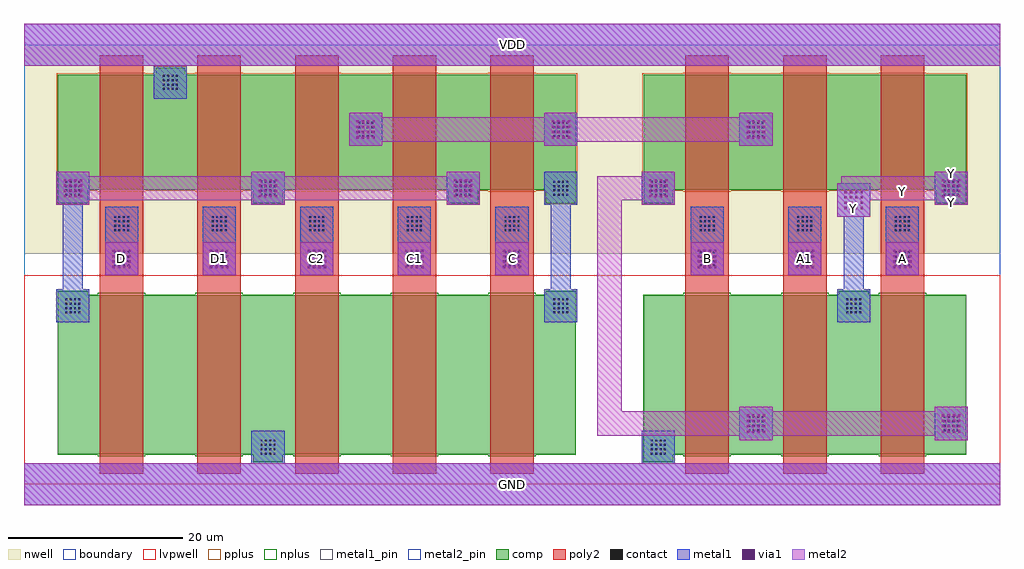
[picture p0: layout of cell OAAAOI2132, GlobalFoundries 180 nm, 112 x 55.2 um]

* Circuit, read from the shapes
.subckt OAAAOI2132 A A1 B C C1 C2 D D1 GND VDD Y
XM1 n1 D n2 VSUBS nfet_03v3 w=18.3u l=5u
XM2 GND D1 n1 VSUBS nfet_03v3 w=18.3u l=5u
XM3 n3 C2 GND VSUBS nfet_03v3 w=18.3u l=5u
XM4 n4 C1 n3 VSUBS nfet_03v3 w=18.3u l=5u
XM5 n5 C n4 VSUBS nfet_03v3 w=18.3u l=5u
XM6 n6 B GND VSUBS nfet_03v3 w=18.3u l=5u
XM7 Y A1 n6 VSUBS nfet_03v3 w=18.3u l=5u
XM8 n6 A Y VSUBS nfet_03v3 w=18.3u l=5u
XM9 VDD D n2 n7 pfet_03v3 w=13.2u l=5u
XM10 n2 D1 VDD n7 pfet_03v3 w=13.2u l=5u
XM11 n5 C2 n2 n7 pfet_03v3 w=13.2u l=5u
XM12 n2 C1 n5 n7 pfet_03v3 w=13.2u l=5u
XM13 n5 C n2 n7 pfet_03v3 w=13.2u l=5u
XM14 n5 B n6 n7 pfet_03v3 w=13.2u l=5u
XM15 n8 A1 n5 n7 pfet_03v3 w=13.2u l=5u
XM16 Y A n8 n7 pfet_03v3 w=13.2u l=5u
.ends

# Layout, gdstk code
import gdstk
lib = gdstk.Library(unit=1e-6, precision=1e-09)
def R(c, l, rs):  # rectangles x0, y0, x1, y1
    for r in rs: c.add(gdstk.rectangle(r[:2], r[2:], *l))
def A(c, l, x, y, w, h, nx, ny, dx, dy):  # array of equal rectangles
    R(c, l, [(x+i*dx, y+j*dy, x+i*dx+w, y+j*dy+h) for i in range(nx) for j in range(ny)])
boundary = (0, 0)
nwell = (21, 0)
comp = (22, 0)
poly2 = (30, 0)
pplus = (31, 0)
nplus = (32, 0)
contact = (33, 0)
metal1 = (34, 0)
metal1_pin = (34, 10)
via1 = (35, 0)
metal2 = (36, 0)
metal2_pin = (36, 10)
lvpwell = (204, 0)

oaaaoi2132 = lib.new_cell('OAAAOI2132')
R(oaaaoi2132, boundary, [(0,0,112,50.4)])
R(oaaaoi2132, nwell, [(0,26.45,112,50.4)])
A(oaaaoi2132, comp, 3.9, 32.25, 3.4, 1.55, 3, 1, 22.4, 0)
R(oaaaoi2132, comp, [(26.3,2.55,29.7,3.4), (71.1,2.55,74.5,3.4), (3.9,3.4,63.3,21.7), (71.1,3.4,108.1,21.7), (3.9,21.7,7.3,22.15), (59.9,21.7,63.3,22.15), (93.5,21.7,96.9,22.15), (59.9,32.25,63.3,33.8), (71.1,32.25,74.5,33.8), (104.7,32.25,108.1,33.8), (3.9,33.8,63.3,47), (71.1,33.8,108.1,47), (15.1,47,18.5,47.8)])
A(oaaaoi2132, poly2, 8.7, 1.2, 5, 48, 5, 1, 11.2, 0)
A(oaaaoi2132, poly2, 75.9, 1.2, 5, 48, 3, 1, 11.2, 0)
A(oaaaoi2132, pplus, 3.74, 32.09, 3.72, 1.55, 3, 1, 22.4, 0)
A(oaaaoi2132, pplus, 8.47, 33.57, 5.46, 0.07, 5, 2, 11.2, 13.59)
A(oaaaoi2132, pplus, 75.67, 33.57, 5.46, 0.07, 3, 2, 11.2, 13.59)
R(oaaaoi2132, pplus, [(59.74,32.09,63.46,33.64), (70.94,32.09,74.66,33.64), (104.54,32.09,108.26,33.64), (3.74,33.64,63.46,47.16), (70.94,33.64,108.26,47.16), (14.94,47.16,18.66,47.96)])
A(oaaaoi2132, nplus, 8.47, 3.17, 5.46, 0.21, 5, 2, 11.2, 18.55)
A(oaaaoi2132, nplus, 75.67, 3.17, 5.46, 0.21, 3, 2, 11.2, 18.55)
R(oaaaoi2132, nplus, [(26.28,2.53,29.72,3.38), (71.08,2.53,74.52,3.38), (3.88,3.38,63.32,21.72), (71.08,3.38,108.12,21.72), (3.88,21.72,7.32,22.17), (59.88,21.72,63.32,22.17), (93.48,21.72,96.92,22.17)])
A(oaaaoi2132, contact, 27.14, 3.39, 0.22, 0.22, 4, 4, 0.5, 0.5)
A(oaaaoi2132, contact, 71.94, 3.39, 0.22, 0.22, 4, 4, 0.5, 0.5)
A(oaaaoi2132, contact, 83.14, 6.09, 0.22, 0.22, 4, 4, 0.5, 0.5)
A(oaaaoi2132, contact, 105.54, 6.09, 0.22, 0.22, 4, 4, 0.5, 0.5)
A(oaaaoi2132, contact, 4.74, 19.59, 0.22, 0.22, 4, 4, 0.5, 0.5)
A(oaaaoi2132, contact, 60.74, 19.59, 0.22, 0.22, 4, 4, 0.5, 0.5)
A(oaaaoi2132, contact, 94.34, 19.59, 0.22, 0.22, 4, 4, 0.5, 0.5)
A(oaaaoi2132, contact, 10.34, 24.99, 0.22, 0.22, 4, 4, 0.5, 0.5)
A(oaaaoi2132, contact, 21.54, 24.99, 0.22, 0.22, 4, 4, 0.5, 0.5)
A(oaaaoi2132, contact, 32.74, 24.99, 0.22, 0.22, 4, 4, 0.5, 0.5)
A(oaaaoi2132, contact, 43.94, 24.99, 0.22, 0.22, 4, 4, 0.5, 0.5)
A(oaaaoi2132, contact, 55.14, 24.99, 0.22, 0.22, 4, 4, 0.5, 0.5)
A(oaaaoi2132, contact, 77.54, 24.99, 0.22, 0.22, 4, 4, 0.5, 0.5)
A(oaaaoi2132, contact, 88.74, 24.99, 0.22, 0.22, 4, 4, 0.5, 0.5)
A(oaaaoi2132, contact, 99.94, 24.99, 0.22, 0.22, 4, 4, 0.5, 0.5)
A(oaaaoi2132, contact, 10.34, 29.04, 0.22, 0.22, 4, 4, 0.5, 0.5)
A(oaaaoi2132, contact, 21.54, 29.04, 0.22, 0.22, 4, 4, 0.5, 0.5)
A(oaaaoi2132, contact, 32.74, 29.04, 0.22, 0.22, 4, 4, 0.5, 0.5)
A(oaaaoi2132, contact, 43.94, 29.04, 0.22, 0.22, 4, 4, 0.5, 0.5)
A(oaaaoi2132, contact, 55.14, 29.04, 0.22, 0.22, 4, 4, 0.5, 0.5)
A(oaaaoi2132, contact, 77.54, 29.04, 0.22, 0.22, 4, 4, 0.5, 0.5)
A(oaaaoi2132, contact, 88.74, 29.04, 0.22, 0.22, 4, 4, 0.5, 0.5)
A(oaaaoi2132, contact, 99.94, 29.04, 0.22, 0.22, 4, 4, 0.5, 0.5)
A(oaaaoi2132, contact, 4.74, 33.09, 0.22, 0.22, 4, 4, 0.5, 0.5)
A(oaaaoi2132, contact, 27.14, 33.09, 0.22, 0.22, 4, 4, 0.5, 0.5)
A(oaaaoi2132, contact, 49.54, 33.09, 0.22, 0.22, 4, 4, 0.5, 0.5)
A(oaaaoi2132, contact, 60.74, 33.09, 0.22, 0.22, 4, 4, 0.5, 0.5)
A(oaaaoi2132, contact, 71.94, 33.09, 0.22, 0.22, 4, 4, 0.5, 0.5)
A(oaaaoi2132, contact, 105.54, 33.09, 0.22, 0.22, 4, 4, 0.5, 0.5)
A(oaaaoi2132, contact, 38.34, 39.84, 0.22, 0.22, 4, 4, 0.5, 0.5)
A(oaaaoi2132, contact, 60.74, 39.84, 0.22, 0.22, 4, 4, 0.5, 0.5)
A(oaaaoi2132, contact, 83.14, 39.84, 0.22, 0.22, 4, 4, 0.5, 0.5)
A(oaaaoi2132, contact, 15.94, 45.24, 0.22, 0.22, 4, 4, 0.5, 0.5)
A(oaaaoi2132, metal1, 9.3, 23.95, 3.8, 7.85, 5, 1, 11.2, 0)
A(oaaaoi2132, metal1, 76.5, 23.95, 3.8, 7.85, 3, 1, 11.2, 0)
A(oaaaoi2132, metal1, 3.7, 32.05, 3.8, 3.8, 3, 1, 22.4, 0)
A(oaaaoi2132, metal1, 37.3, 38.8, 3.8, 3.8, 3, 1, 22.4, 0)
R(oaaaoi2132, metal1, [(0,-2.4,112,2.4), (26.1,2.4,29.9,6.15), (70.9,2.4,74.7,6.15), (82.1,5.05,85.9,8.85), (104.5,5.05,108.3,8.85), (3.7,18.55,7.5,22.35), (59.7,18.55,63.5,22.35), (93.3,18.55,97.1,22.35), (4.45,22.35,6.75,32.05), (60.45,22.35,62.75,32.05), (94.05,22.35,96.35,30.7), (93.3,30.7,97.1,34.5), (59.7,32.05,63.5,35.85), (70.9,32.05,74.7,35.85), (104.5,32.05,108.3,35.85), (14.9,44.2,18.7,48), (0,48,112,52.8)])
R(oaaaoi2132, metal1_pin, [(0,-2.4,112,2.4), (0,48,112,52.8)])
A(oaaaoi2132, via1, 82.94, 5.89, 0.26, 0.26, 4, 4, 0.62, 0.62)
A(oaaaoi2132, via1, 105.34, 5.89, 0.26, 0.26, 4, 4, 0.62, 0.62)
A(oaaaoi2132, via1, 10.14, 24.79, 0.26, 0.26, 4, 4, 0.62, 0.62)
A(oaaaoi2132, via1, 21.34, 24.79, 0.26, 0.26, 4, 4, 0.62, 0.62)
A(oaaaoi2132, via1, 32.54, 24.79, 0.26, 0.26, 4, 4, 0.62, 0.62)
A(oaaaoi2132, via1, 43.74, 24.79, 0.26, 0.26, 4, 4, 0.62, 0.62)
A(oaaaoi2132, via1, 54.94, 24.79, 0.26, 0.26, 4, 4, 0.62, 0.62)
A(oaaaoi2132, via1, 77.34, 24.79, 0.26, 0.26, 4, 4, 0.62, 0.62)
A(oaaaoi2132, via1, 88.54, 24.79, 0.26, 0.26, 4, 4, 0.62, 0.62)
A(oaaaoi2132, via1, 99.74, 24.79, 0.26, 0.26, 4, 4, 0.62, 0.62)
A(oaaaoi2132, via1, 94.14, 31.54, 0.26, 0.26, 4, 4, 0.62, 0.62)
A(oaaaoi2132, via1, 4.54, 32.89, 0.26, 0.26, 4, 4, 0.62, 0.62)
A(oaaaoi2132, via1, 26.94, 32.89, 0.26, 0.26, 4, 4, 0.62, 0.62)
A(oaaaoi2132, via1, 49.34, 32.89, 0.26, 0.26, 4, 4, 0.62, 0.62)
A(oaaaoi2132, via1, 71.74, 32.89, 0.26, 0.26, 4, 4, 0.62, 0.62)
A(oaaaoi2132, via1, 105.34, 32.89, 0.26, 0.26, 4, 4, 0.62, 0.62)
A(oaaaoi2132, via1, 38.14, 39.64, 0.26, 0.26, 4, 4, 0.62, 0.62)
A(oaaaoi2132, via1, 60.54, 39.64, 0.26, 0.26, 4, 4, 0.62, 0.62)
A(oaaaoi2132, via1, 82.94, 39.64, 0.26, 0.26, 4, 4, 0.62, 0.62)
A(oaaaoi2132, metal2, 9.3, 23.95, 3.8, 3.8, 5, 1, 11.2, 0)
A(oaaaoi2132, metal2, 76.5, 23.95, 3.8, 3.8, 3, 1, 11.2, 0)
A(oaaaoi2132, metal2, 3.7, 32.05, 3.8, 0.5, 4, 2, 22.4, 3.3)
A(oaaaoi2132, metal2, 37.3, 38.8, 3.8, 0.5, 3, 2, 22.4, 3.3)
R(oaaaoi2132, metal2, [(0,-2.4,112,2.4), (82.1,5.05,85.9,5.55), (104.5,5.05,108.3,5.55), (65.8,5.55,108.3,8.35), (65.8,8.35,68.6,32.55), (82.1,8.35,85.9,8.85), (104.5,8.35,108.3,8.85), (93.3,30.7,97.1,32.55), (104.5,32.05,108.3,32.55), (3.7,32.55,52.3,35.35), (65.8,32.55,74.7,35.35), (93.3,32.55,108.3,34.5), (93.8,34.5,108.3,35.35), (104.5,35.35,108.3,35.85), (37.3,39.3,85.9,42.1), (0,48,112,52.8)])
A(oaaaoi2132, metal2_pin, 9.3, 23.95, 3.8, 3.8, 5, 1, 11.2, 0)
A(oaaaoi2132, metal2_pin, 76.5, 23.95, 3.8, 3.8, 3, 1, 11.2, 0)
R(oaaaoi2132, metal2_pin, [(93.3,30.7,97.1,32.55), (104.5,32.05,108.3,32.55), (93.3,32.55,108.3,34.5), (93.8,34.5,108.3,35.35), (104.5,35.35,108.3,35.85)])
R(oaaaoi2132, lvpwell, [(0,0,112,23.95)])
oaaaoi2132.add(gdstk.Label('VDD', (56,50.4), layer=34, texttype=10))
oaaaoi2132.add(gdstk.Label('GND', (56,0), layer=34, texttype=10))
oaaaoi2132.add(gdstk.Label('Y', (95.2,31.625), layer=36, texttype=10))
oaaaoi2132.add(gdstk.Label('Y', (106.4,32.3), layer=36, texttype=10))
oaaaoi2132.add(gdstk.Label('Y', (100.8,33.525), layer=36, texttype=10))
oaaaoi2132.add(gdstk.Label('Y', (101.05,34.925), layer=36, texttype=10))
oaaaoi2132.add(gdstk.Label('Y', (106.4,35.6), layer=36, texttype=10))
oaaaoi2132.add(gdstk.Label('A1', (89.6,25.85), layer=36, texttype=10))
oaaaoi2132.add(gdstk.Label('A', (100.8,25.85), layer=36, texttype=10))
oaaaoi2132.add(gdstk.Label('C', (56,25.85), layer=36, texttype=10))
oaaaoi2132.add(gdstk.Label('C1', (44.8,25.85), layer=36, texttype=10))
oaaaoi2132.add(gdstk.Label('B', (78.4,25.85), layer=36, texttype=10))
oaaaoi2132.add(gdstk.Label('C2', (33.6,25.85), layer=36, texttype=10))
oaaaoi2132.add(gdstk.Label('D', (11.2,25.85), layer=36, texttype=10))
oaaaoi2132.add(gdstk.Label('D1', (22.4,25.85), layer=36, texttype=10))

lib.write_gds('OAAAOI2132.gds')
